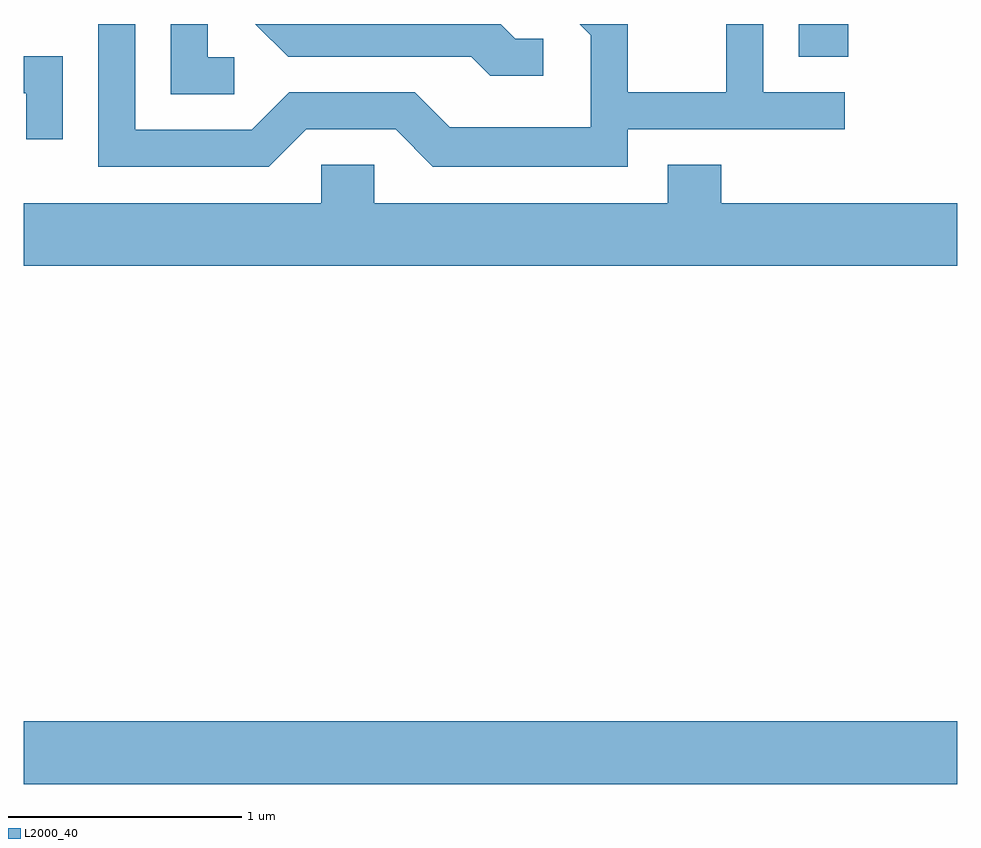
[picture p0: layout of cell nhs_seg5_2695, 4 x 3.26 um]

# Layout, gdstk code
import gdstk
lib = gdstk.Library(unit=1e-6, precision=1e-09)
def R(c, l, rs):  # rectangles x0, y0, x1, y1
    for r in rs: c.add(gdstk.rectangle(r[:2], r[2:], *l))
def P(c, l, *ps):  # polygons
    for p in ps: c.add(gdstk.Polygon(p, *l))
L2000_40 = (2000, 40)

nhs_seg5_2695 = lib.new_cell('nhs_seg5_2695')
R(nhs_seg5_2695, L2000_40, [(265.611,1436.816,269.611,1437.084), (268.931,1439.931,269.144,1440.072)])
P(nhs_seg5_2695, L2000_40, [(266.822,1439.621),(267.204,1439.621),(267.364,1439.461),(268.199,1439.461),(268.199,1439.621),(269.128,1439.621),(269.128,1439.779),(268.779,1439.779),(268.779,1440.072),(268.621,1440.072),(268.621,1439.779),(268.199,1439.779),(268.199,1440.072),(267.993,1440.072),(268.041,1440.024),(268.041,1439.629),(267.437,1439.629),(267.287,1439.779),(266.749,1439.779),(266.589,1439.619),(266.089,1439.619),(266.089,1440.072),(265.931,1440.072),(265.931,1439.461),(266.662,1439.461)],
  [(266.513,1439.929),(266.399,1439.929),(266.399,1440.072),(266.241,1440.072),(266.241,1439.771),(266.513,1439.771)],
  [(267.838,1440.009),(267.717,1440.009),(267.654,1440.072),(266.603,1440.072),(266.744,1439.931),(267.529,1439.931),(267.609,1439.851),(267.838,1439.851)],
  [(265.779,1439.934),(265.611,1439.934),(265.611,1439.776),(265.621,1439.776),(265.621,1439.578),(265.779,1439.578)],
  [(269.611,1439.304),(268.599,1439.304),(268.599,1439.469),(268.371,1439.469),(268.371,1439.304),(267.114,1439.304),(267.114,1439.469),(266.886,1439.469),(266.886,1439.304),(265.611,1439.304),(265.611,1439.036),(269.611,1439.036)])

lib.write_gds('nhs_seg5_2695.gds')
